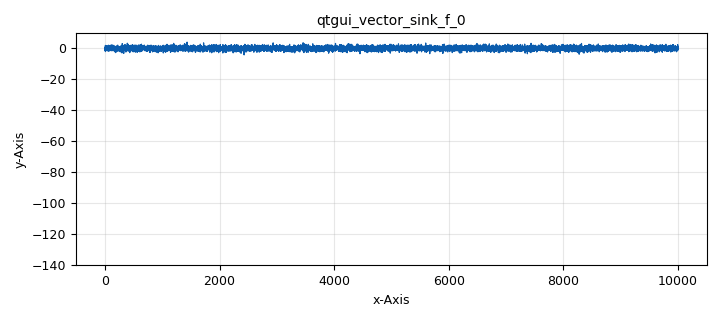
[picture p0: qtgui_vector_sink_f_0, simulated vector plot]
options:
  parameters:
    generate_options: qt_gui
    id: ms10
    output_language: python
    title: Not titled yet
  states: {}

blocks:
- name: samp_rate
  id: variable
  parameters:
    value: '32000'
  states: {}
- name: analog_noise_source_x_0
  id: analog_noise_source_x
  parameters:
    amp: '1'
    noise_type: analog.GR_GAUSSIAN
    seed: '0'
    type: float
  states: {}
- name: blocks_stream_to_vector_0
  id: blocks_stream_to_vector
  parameters:
    num_items: '10000'
    type: float
  states: {}
- name: blocks_throttle2_0
  id: blocks_throttle2
  parameters:
    samples_per_second: samp_rate
    type: float
    vlen: '10000'
  states: {}
- name: matrixSink_matrix_sink_0
  id: matrixSink_matrix_sink
  parameters:
    name: '"Matrix Sink"'
    num_cols: '100'
    vlen: '10000'
    x_axis_label: '"x-Axis"'
    x_end: '10'
    x_start: '0'
    y_axis_label: '"y-Axis"'
    y_end: '10'
    y_start: '0'
    z_axis_label: '"z-Axis"'
    z_max: '1'
    z_min: '0'
  states: {}
- name: qtgui_vector_sink_f_0
  id: qtgui_vector_sink_f
  parameters:
    vlen: '10000'
    x_start: '0'
    x_step: '1.0'
  states: {}

connections:
- [analog_noise_source_x_0, '0', blocks_stream_to_vector_0, '0']
- [blocks_stream_to_vector_0, '0', blocks_throttle2_0, '0']
- [blocks_throttle2_0, '0', matrixSink_matrix_sink_0, '0']
- [blocks_throttle2_0, '0', qtgui_vector_sink_f_0, '0']

metadata:
  file_format: 1
  grc_version: 3.10.6.0
